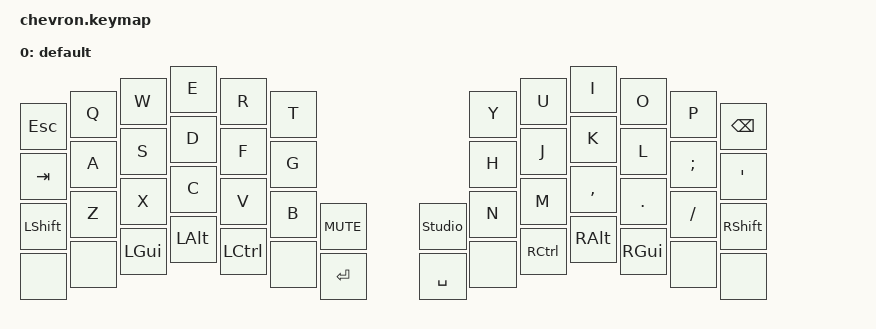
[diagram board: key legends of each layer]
#include <behaviors.dtsi>
#include <dt-bindings/zmk/keys.h>

/ {
    keymap {
        compatible = "zmk,keymap";

        default_layer { // Layer 0
            display-name = "default";
            // ------------------------------------------------------------------------------------------------------------
            // |  ESC  |  Q  |  W  |  E   |  R   |  T   |                   |  Y   |  U    |  I    |  O   |   P   | BKSPC |
            // |  TAB  |  A  |  S  |  D   |  F   |  G   |                   |  H   |  J    |  K    |  L   |   ;   |   '   |
            // | SHIFT |  Z  |  X  |  C   |  V   |  B   |  MUTE  |  |       |  N   |  M    |  ,    |  .   |   /   | SHIFT |
            //               | GUI | ALT  | CTRL | LOWER|  ENTER |  | SPACE | RAISE| CTRL  | ALT   | GUI  |
            bindings = <
            &kp ESC   &kp Q  &kp W    &kp E    &kp R     &kp T                            &kp Y  &kp U     &kp I     &kp O    &kp P    &kp BSPC
            &kp TAB   &kp A  &kp S    &kp D    &kp F     &kp G                            &kp H  &kp J     &kp K     &kp L    &kp SEMI &kp SQT
            &kp LSHFT &kp Z  &kp X    &kp C    &kp V     &kp B      &kp C_MUTE &studio_unlock      &kp N  &kp M     &kp COMMA &kp DOT  &kp FSLH &kp RSHFT
            &none &none &kp LGUI &kp LALT &kp LCTRL &none  &kp RET    &kp SPACE  &none  &kp RCTRL &kp RALT  &kp RGUI &none &none
            >;
        };

        extra1 {
            status = "reserved";
        };

        extra2 {
            status = "reserved";
        };

        extra3 {
            status = "reserved";
        };

    };
 };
